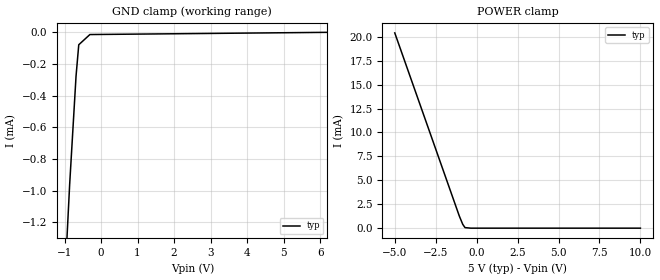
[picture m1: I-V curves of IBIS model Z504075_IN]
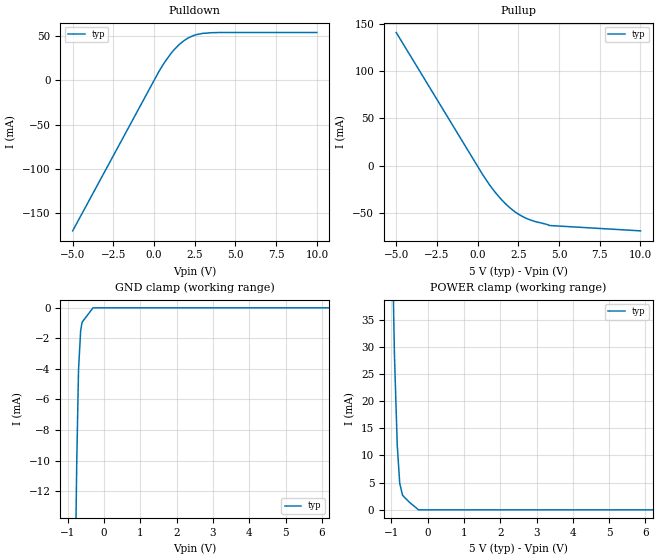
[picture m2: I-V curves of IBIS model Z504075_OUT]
| YOU ARE ONLY AUTHORIZED TO USE THIS SOFTWARE
| ACCORDING TO LICENSOR'S LICENSE RESTRICTIONS.
[IBIS Ver] 3.1
[File Name] mc54hc175j.ibs
[File Rev] 2.0
[Source] Measured and created by ICX Technology
[Date] Friday 7/14/00 9:08:06 AM
[Copyright]
| (C) COPYRIGHT 1993-2000
| MENTOR GRAPHICS CORPORATION
| ICX STANDARD LIBRARY, ICX PROJECT MODELING,
| ICX CUSTOM MODELING, ICX VENDOR MODEL
| ALL RIGHTS RESERVED.
| THE FOLLOWING ARE TRADEMARKS OR SERVICE MARKS OF
| MENTOR GRAPHICS CORPORATION:ICX (R), ICX STANDARD
| LIBRARY(R), ICX PROJECT MODELING(R), ICX CUSTOM
| MODELING(R), qualityIBIS(TM), MODELVIEWER(TM),
| AND MODELEDITOR(TM)
| ALL COPIES OF SOFTWARE, INCLUDING BUT NOT LIMITED TO
| ANY MODIFICATIONS, ENHANCEMENTS OR DERIVATIVE WORKS,
| MUST CONTAIN ALL MENTOR GRAPHICS CORPORATION'S
| NOTICES AND LEGENDS, INCLUDING THOSE EMBEDDED IN
| SOFTWARE AND THOSE AFFIXED TO SOFTWARE MEDIUM
| AND CONTAINER, AS RECEIVED FROM MENTOR GRAPHICS
| CORPORATION.
|  ZAP Model Builder 2.7
[Component] MC54HC175J
[Manufacturer] OnSemiconductor
[Package]
| variable   typ   min   max
R_pkg  .212ohms NA NA
L_pkg  4.758nH NA NA
C_pkg  1.944pF NA NA
[Pin] signal_name  model_name  R_pin  L_pin C_pin
1 _MR Z504075_IN .224 7.258n 2.683p
2 Q0 Z504075_OUT .216 5.258n 2.19p
3 _Q0 Z504075_OUT .208 3.758n 1.697p
4 D0 Z504075_IN .2 2.758n 1.204p
5 D1 Z504075_IN .2 2.758n 1.204p
6 _Q1 Z504075_OUT .208 3.758n 1.697p
7 Q1 Z504075_OUT .216 5.258n 2.19p
8 GND GND .224 7.258n 2.683p
9 CP Z504075_IN .224 7.258n 2.683p
10 Q2 Z504075_OUT .216 5.258n 2.19p
11 _Q2 Z504075_OUT .208 3.758n 1.697p
12 D2 Z504075_IN .2 2.758n 1.204p
13 D3 Z504075_IN .2 2.758n 1.204p
14 _Q3 Z504075_OUT .208 3.758n 1.697p
15 Q3 Z504075_OUT .216 5.258n 2.19p
16 VCC POWER .224 7.258n 2.683p
| Models and submodels in the file (2): Z504075_IN (Input), Z504075_OUT (Output)
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| (C) COPYRIGHT 1993-2000
| MENTOR GRAPHICS CORPORATION
| ICX STANDARD LIBRARY, ICX PROJECT MODELING,
| ICX CUSTOM MODELING, ICX VENDOR MODEL
| ALL RIGHTS RESERVED.
| THE FOLLOWING ARE TRADEMARKS OR SERVICE MARKS OF
| MENTOR GRAPHICS CORPORATION:ICX (R), ICX STANDARD
| LIBRARY(R), ICX PROJECT MODELING(R), ICX CUSTOM
| MODELING(R), qualityIBIS(TM), MODELVIEWER(TM),
| AND MODELEDITOR(TM)
| ALL COPIES OF SOFTWARE, INCLUDING BUT NOT LIMITED TO
| ANY MODIFICATIONS, ENHANCEMENTS OR DERIVATIVE WORKS,
| MUST CONTAIN ALL MENTOR GRAPHICS CORPORATION'S
| NOTICES AND LEGENDS, INCLUDING THOSE EMBEDDED IN
| SOFTWARE AND THOSE AFFIXED TO SOFTWARE MEDIUM
| AND CONTAINER, AS RECEIVED FROM MENTOR GRAPHICS
| CORPORATION.
| Model Application Version 1.89 2/18/99.
[Model] Z504075_IN
Model_type Input
Vinl = 1.000V
Vinh = 3.500V
C_comp 4.000pF NA NA
| variable typ   min   max
[Voltage Range] 5.000V NA NA
[GND Clamp Reference] 0.000V NA NA
[POWER Clamp Reference] 5.000V NA NA
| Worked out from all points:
|   POWER clamp passes 1 mA (typ) near -0.99 V on its own axis
[GND Clamp]
-5V       -21.26mA   NA         NA
-1.128V   -2.195mA   NA         NA
-858.6mV  -959.8uA   NA         NA
-683.8mV  -277.2uA   NA         NA
-609.6mV  -79.93uA   NA         NA
-304.8mV  -15.55uA   NA         NA
10V       6.496uA    NA         NA
[POWER Clamp]
-5V       20.41mA    NA         NA
-1.059V   1.269mA    NA         NA
-849mV    400.5uA    NA         NA
-710mV    57.14uA    NA         NA
-355mV    0A         NA         NA
10V       0A         NA         NA
| (C) COPYRIGHT 1993-2000
| MENTOR GRAPHICS CORPORATION
| ICX STANDARD LIBRARY, ICX PROJECT MODELING,
| ICX CUSTOM MODELING, ICX VENDOR MODEL
| ALL RIGHTS RESERVED.
| THE FOLLOWING ARE TRADEMARKS OR SERVICE MARKS OF
| MENTOR GRAPHICS CORPORATION:ICX (R), ICX STANDARD
| LIBRARY(R), ICX PROJECT MODELING(R), ICX CUSTOM
| MODELING(R), qualityIBIS(TM), MODELVIEWER(TM),
| AND MODELEDITOR(TM)
| ALL COPIES OF SOFTWARE, INCLUDING BUT NOT LIMITED TO
| ANY MODIFICATIONS, ENHANCEMENTS OR DERIVATIVE WORKS,
| MUST CONTAIN ALL MENTOR GRAPHICS CORPORATION'S
| NOTICES AND LEGENDS, INCLUDING THOSE EMBEDDED IN
| SOFTWARE AND THOSE AFFIXED TO SOFTWARE MEDIUM
| AND CONTAINER, AS RECEIVED FROM MENTOR GRAPHICS
| CORPORATION.
| Model Application Version 1.89 2/18/99.
[Model] Z504075_OUT
Model_type Output
Vref=0.000V
Rref=500.0Mohms
Cref=50.00pF
Vmeas=2.500V
C_comp 8.000pF NA NA
| variable typ   min   max
[Voltage Range] 5.000V NA NA
[POWER Clamp Reference] 5.000V NA NA
[Pullup Reference] 5.000V NA NA
[Pulldown Reference] 0.000V NA NA
[GND Clamp Reference] 0.000V NA NA
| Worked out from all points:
|   slope of the pulldown table from 0 to 0.75 V, typ, clamps not added: 32.4 ohm
|   slope of the pullup table from 0 to 0.75 V, typ, clamps not added: 37.4 ohm
|   GND clamp passes 1 mA (typ) near -0.61 V on its own axis
|   POWER clamp passes 1 mA (typ) near -0.43 V on its own axis
[GND Clamp]
-5V       -478.7mA   NA         NA
-1.211V   -83.2mA    NA         NA
-1.025V   -59.28mA   NA         NA
-751.4mV  -10.17mA   NA         NA
-702.1mV  -4.04mA    NA         NA
-643mV    -1.486mA   NA         NA
-605.2mV  -948.3uA   NA         NA
-302.6mV  0A         NA         NA
10V       0A         NA         NA
[Pulldown]
-5V       -169.8mA   NA         NA
296.3mV   9.949mA    NA         NA
569.1mV   18.14mA    NA         NA
1.071V    31.08mA    NA         NA
1.519V    39.96mA    NA         NA
1.797V    44.22mA    NA         NA
2.446V    50.68mA    NA         NA
2.982V    52.95mA    NA         NA
3.462V    53.66mA    NA         NA
10V       53.94mA    NA         NA
[Pullup]
-5V       140.8mA    NA         NA
333mV     -10.21mA   NA         NA
1.069V    -28.12mA   NA         NA
1.479V    -36.33mA   NA         NA
2.03V     -45.39mA   NA         NA
2.5V      -51.36mA   NA         NA
2.935V    -55.42mA   NA         NA
4.407V    -63.37mA   NA         NA
10V       -69.05mA   NA         NA
[POWER Clamp]
-5V       2.242A     NA         NA
-1.329V   206.4mA    NA         NA
-1.099V   95.27mA    NA         NA
-913mV    28.58mA    NA         NA
-835mV    11.84mA    NA         NA
-767mV    4.866mA    NA         NA
-689mV    2.674mA    NA         NA
-498mV    1.382mA    NA         NA
-249mV    0A         NA         NA
10V       0A         NA         NA
[Ramp]
| variable typ min max
dV/dt_r 2.816/1.416n NA NA
dV/dt_f 2.816/1.155n NA NA
R_load = 500.0Ohms
